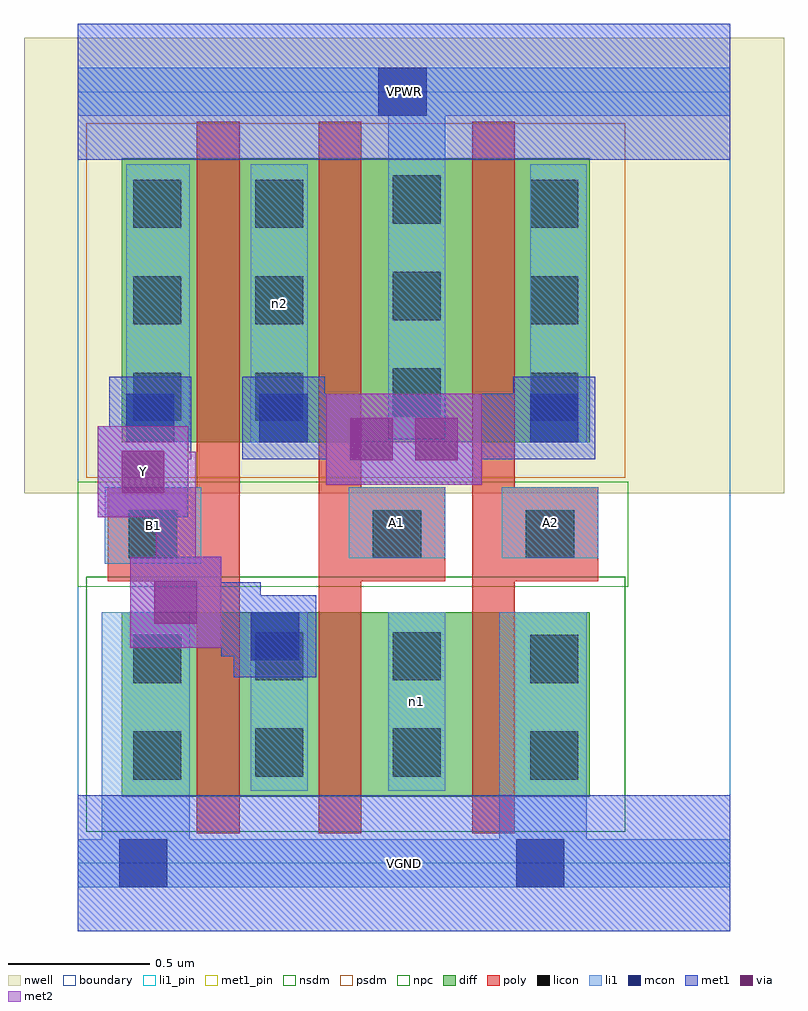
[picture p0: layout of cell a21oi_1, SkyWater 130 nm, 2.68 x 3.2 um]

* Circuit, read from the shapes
.subckt a21oi_1 A1 A2 B1 VGND VPWR Y n1 n2
XM1 Y B1 VGND VSUBS sky130_fd_pr__nfet_01v8 w=0.65 l=0.15
XM2 n1 A1 Y VSUBS sky130_fd_pr__nfet_01v8 w=0.65 l=0.15
XM3 VGND A2 n1 VSUBS sky130_fd_pr__nfet_01v8 w=0.65 l=0.15
XM4 n2 B1 Y n3 sky130_fd_pr__pfet_01v8 w=1 l=0.15
XM5 VPWR A1 n2 n3 sky130_fd_pr__pfet_01v8 w=1 l=0.15
XM6 n2 A2 VPWR n3 sky130_fd_pr__pfet_01v8 w=1 l=0.15
.ends

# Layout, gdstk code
import gdstk
lib = gdstk.Library(unit=1e-6, precision=1e-09)
def R(c, l, rs):  # rectangles x0, y0, x1, y1
    for r in rs: c.add(gdstk.rectangle(r[:2], r[2:], *l))
def A(c, l, x, y, w, h, nx, ny, dx, dy):  # array of equal rectangles
    R(c, l, [(x+i*dx, y+j*dy, x+i*dx+w, y+j*dy+h) for i in range(nx) for j in range(ny)])
nwell = (64, 20)
diff = (65, 20)
poly = (66, 20)
licon = (66, 44)
li1_pin = (67, 16)
li1 = (67, 20)
mcon = (67, 44)
met1_pin = (68, 16)
met1 = (68, 20)
via = (68, 44)
met2 = (69, 20)
nsdm = (93, 44)
psdm = (94, 20)
npc = (95, 20)
boundary = (235, 4)

a21oi_1 = lib.new_cell('a21oi_1')
R(a21oi_1, nwell, [(-0.19,1.305,2.49,2.91), (0,1.305,2.3,2.91)])
R(a21oi_1, diff, [(0.155,0.235,1.805,0.885), (0.155,1.485,1.805,2.485)])
R(a21oi_1, poly, [(0.42,0.105,0.57,2.615), (0.85,0.105,1,2.615), (1.39,0.105,1.54,2.615), (0.105,0.995,0.57,1.325), (0.85,0.995,1.295,1.325), (1.39,0.995,1.835,1.325)])
A(a21oi_1, licon, 0.195, 1.56, 0.17, 0.17, 1, 3, 0, 0.34)
A(a21oi_1, licon, 0.625, 1.56, 0.17, 0.17, 1, 3, 0, 0.34)
A(a21oi_1, licon, 1.595, 1.56, 0.17, 0.17, 1, 3, 0, 0.34)
A(a21oi_1, licon, 1.11, 1.575, 0.17, 0.17, 1, 3, 0, 0.34)
R(a21oi_1, licon, [(0.195,0.295,0.365,0.465), (1.595,0.295,1.765,0.465), (0.625,0.305,0.795,0.475), (1.11,0.305,1.28,0.475), (0.195,0.635,0.365,0.805), (1.595,0.635,1.765,0.805), (0.625,0.645,0.795,0.815), (1.11,0.645,1.28,0.815), (0.18,1.075,0.35,1.245), (1.04,1.075,1.21,1.245), (1.58,1.075,1.75,1.245)])
R(a21oi_1, li1_pin, [(0.095,1.055,0.435,1.325), (0.955,1.075,1.295,1.325), (1.495,1.075,1.835,1.325)])
R(a21oi_1, li1, [(0,-0.085,2.3,0.085), (0.085,-0.085,0.395,0.885), (1.485,-0.085,1.795,0.885), (0.61,0.255,0.81,0.885), (1.095,0.255,1.295,0.885), (0.095,1.055,0.435,1.325), (0.955,1.075,1.295,1.325), (1.495,1.075,1.835,1.325), (0.17,1.485,0.395,2.465), (0.61,1.485,0.81,2.465), (1.595,1.485,1.795,2.465), (1.095,1.495,1.295,2.805), (0,2.635,2.3,2.805)])
R(a21oi_1, mcon, [(0.145,-0.085,0.315,0.085), (1.545,-0.085,1.715,0.085), (0.61,0.715,0.78,0.885), (0.17,1.485,0.34,1.655), (0.64,1.485,0.81,1.655), (1.595,1.485,1.765,1.655), (1.06,2.635,1.23,2.805)])
R(a21oi_1, met1_pin, [(0,-0.24,2.3,0.24), (0.07,1.22,0.39,1.54), (0,2.48,2.3,2.96)])
R(a21oi_1, met1, [(0,-0.24,2.3,0.24), (0.55,0.655,0.84,0.945), (0.505,0.73,0.765,0.87), (0.505,0.73,0.645,0.99), (0.185,0.76,0.505,1.08), (0.275,0.85,0.645,0.99), (0.07,1.22,0.39,1.54), (0.16,1.31,0.3,1.64), (0.875,1.335,1.195,1.655), (1.105,1.335,1.425,1.655), (0.11,1.425,0.4,1.715), (0.58,1.425,0.87,1.715), (0.85,1.425,0.99,1.64), (0.85,1.425,1.105,1.565), (0.87,1.425,0.875,1.655), (1.195,1.425,1.565,1.565), (1.425,1.425,1.565,1.64), (1.425,1.425,1.535,1.655), (1.535,1.425,1.825,1.715), (0.16,1.5,0.325,1.64), (0.655,1.5,0.99,1.64), (1.425,1.5,1.75,1.64), (0,2.48,2.3,2.96)])
R(a21oi_1, via, [(0.27,0.845,0.42,0.995), (0.155,1.305,0.305,1.455), (0.96,1.42,1.11,1.57), (1.19,1.42,1.34,1.57)])
R(a21oi_1, met2, [(0.185,0.76,0.505,1.08), (0.275,0.85,0.415,1.45), (0.07,1.22,0.39,1.54), (0.16,1.31,0.415,1.45), (0.875,1.335,1.195,1.655), (1.105,1.335,1.425,1.655), (0.965,1.425,1.335,1.565)])
R(a21oi_1, nsdm, [(0.03,0.11,1.93,1.01)])
R(a21oi_1, psdm, [(0.03,1.36,1.93,2.61)])
R(a21oi_1, npc, [(0,0.975,1.94,1.345)])
R(a21oi_1, boundary, [(0,0,2.3,2.72)])
a21oi_1.add(gdstk.Label('A1', (1.125,1.2), layer=67, texttype=5))
a21oi_1.add(gdstk.Label('A2', (1.665,1.2), layer=67, texttype=5))
a21oi_1.add(gdstk.Label('B1', (0.265,1.19), layer=67, texttype=5))
a21oi_1.add(gdstk.Label('n2', (0.71,1.975), layer=67, texttype=5))
a21oi_1.add(gdstk.Label('n1', (1.195,0.57), layer=67, texttype=5))
a21oi_1.add(gdstk.Label('Y', (0.23,1.38), layer=68, texttype=5))
a21oi_1.add(gdstk.Label('VPWR', (1.15,2.72), layer=68, texttype=5))
a21oi_1.add(gdstk.Label('VGND', (1.15,0), layer=68, texttype=5))
a21oi_1.add(gdstk.Label('A1', (1.125,1.2), layer=67, texttype=16))
a21oi_1.add(gdstk.Label('A2', (1.665,1.2), layer=67, texttype=16))
a21oi_1.add(gdstk.Label('B1', (0.265,1.19), layer=67, texttype=16))
a21oi_1.add(gdstk.Label('Y', (0.23,1.38), layer=68, texttype=16))
a21oi_1.add(gdstk.Label('VPWR', (1.15,2.72), layer=68, texttype=16))
a21oi_1.add(gdstk.Label('VGND', (1.15,0), layer=68, texttype=16))

lib.write_gds('a21oi_1.gds')
